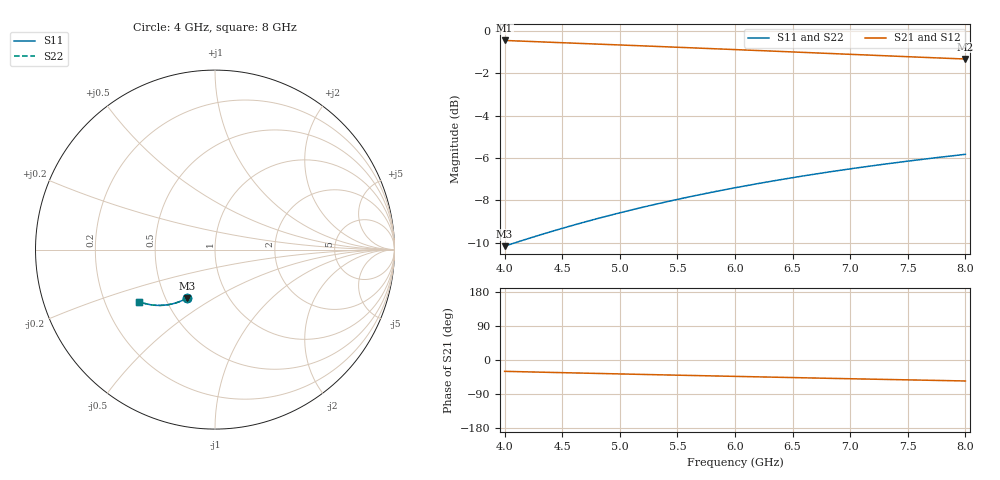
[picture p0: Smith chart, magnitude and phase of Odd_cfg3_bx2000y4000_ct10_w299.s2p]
! Sonnet Data File
! From: emgraph Version : 16.52
! From Emgraph Data: Waveguide2
! Data File Written: 09/24/2017 12:53:04
!< HDATE 09/24/2017 12:38:44
!< MDATE 09/24/2017 12:39:05
!< PARAMS
!< hWid = 5.0
!< gap = 6.0
!< Pwid = 299.0
!< END PARAMS
# GHZ S MA R 50.00000
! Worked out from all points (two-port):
!   201 points, 4 GHz to 8 GHz, reference 50 ohm
!   highest |S21| = -0.44 dB at 4 GHz (marker M1); lowest = -1.3 dB at 8 GHz (marker M2)
!   |S21| within 3 dB of the highest: start of sweep to end of sweep
!   lowest |S11| = -10.2 dB at 4 GHz (marker M3), VSWR 1.90, Z = 32.2 - j19.1 ohm
!   |S11| at or under -10 dB: start of sweep to 4.094 GHz
!   |S22| runs from -10.2 to -5.8 dB; largest |S21 - S12| = 0
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4  0.3102 -119.9  0.9507 -29.9  0.9507 -29.9  0.3102 -119.9
!< P1 F=4.0 Eeff=(6.38581787 -2.9305e-5) Z0=(24.1500619 5.54163e-5) R=0.00106977 C=0.17234699
!< P2 F=4.0 Eeff=(6.38581787 -2.9305e-5) Z0=(24.1500619 5.54163e-5) R=0.00106977 C=0.17234699
4.34  0.3318 -122.2  0.9427 -32.3  0.9427 -32.3  0.3318 -122.2
4.68  0.3529 -124.5  0.9349 -34.6  0.9349 -34.6  0.3529 -124.5
5.02  0.3732 -126.8  0.9271 -36.9  0.9271 -36.9  0.3732 -126.8
5.34  0.3914 -129.0  0.9199 -39.0  0.9199 -39.0  0.3914 -129.0
5.62  0.4067 -130.8  0.9135 -40.9  0.9135 -40.9  0.4067 -130.8
6  0.4263 -133.3  0.9047 -43.3  0.9047 -43.3  0.4263 -133.3
6.34  0.4429 -135.4  0.8967 -45.4  0.8967 -45.4  0.4429 -135.4
6.52  0.4514 -136.6  0.8924 -46.5  0.8924 -46.5  0.4514 -136.6
6.68  0.4586 -137.5  0.8887 -47.5  0.8887 -47.5  0.4586 -137.5
6.88  0.4674 -138.7  0.884 -48.8  0.884 -48.8  0.4674 -138.7
6.98  0.4717 -139.4  0.8817 -49.4  0.8817 -49.4  0.4717 -139.4
7.06  0.4751 -139.8  0.8799 -49.8  0.8799 -49.8  0.4751 -139.8
7.08  0.4759 -140.0  0.8795 -50.0  0.8795 -50.0  0.4759 -140.0
7.16  0.4793 -140.4  0.8777 -50.4  0.8777 -50.4  0.4793 -140.4
7.34  0.4865 -141.5  0.8736 -51.5  0.8736 -51.5  0.4865 -141.5
7.6  0.4967 -143.0  0.8679 -53.0  0.8679 -53.0  0.4967 -143.0
7.62  0.4974 -143.2  0.8675 -53.2  0.8675 -53.2  0.4974 -143.2
7.72  0.5012 -143.7  0.8653 -53.7  0.8653 -53.7  0.5012 -143.7
7.74  0.502 -143.9  0.8648 -53.9  0.8648 -53.9  0.502 -143.9
7.98  0.5108 -145.2  0.8597 -55.2  0.8597 -55.2  0.5108 -145.2
8  0.5115 -145.4  0.8593 -55.4  0.8593 -55.4  0.5115 -145.4
